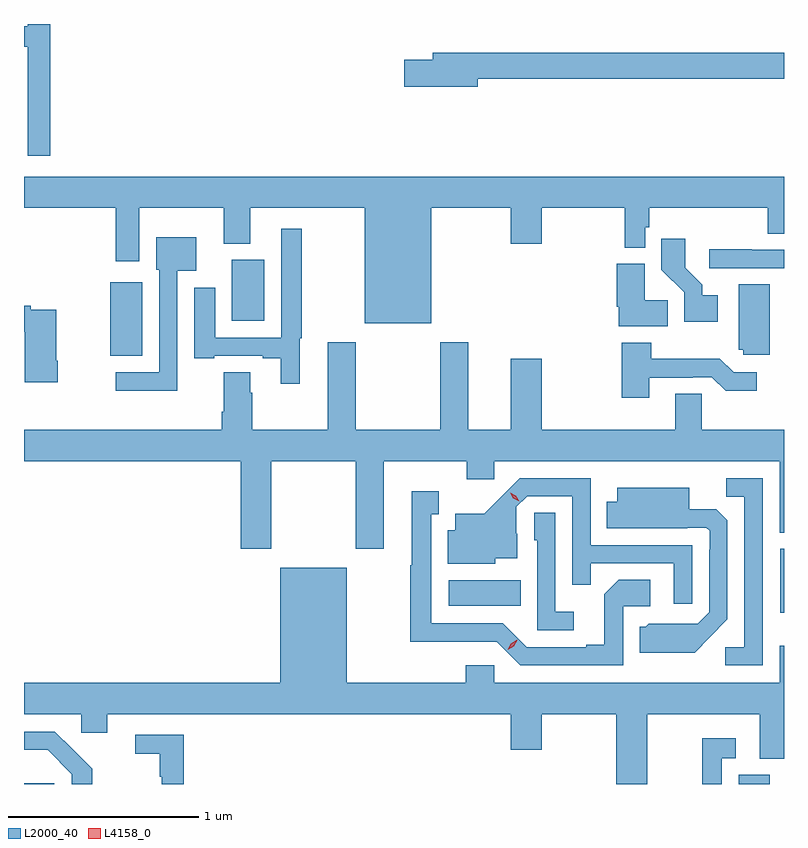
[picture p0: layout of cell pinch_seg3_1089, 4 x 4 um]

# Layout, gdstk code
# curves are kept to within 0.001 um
import gdstk
lib = gdstk.Library(unit=1e-6, precision=1e-09)
def R(c, l, rs):  # rectangles x0, y0, x1, y1
    for r in rs: c.add(gdstk.rectangle(r[:2], r[2:], *l))
def P(c, l, *ps):  # polygons
    for p in ps: c.add(gdstk.Polygon(p, *l))
L2000_40 = (2000, 40)
L4158_0 = (4158, 0)

pinch_seg3_1089 = lib.new_cell('pinch_seg3_1089')
R(pinch_seg3_1089, L2000_40, [(330.279,696.552,330.439,696.556), (334.04,696.552,334.204,696.6), (334.259,697.454,334.279,697.789), (332.514,697.49,332.894,697.624), (330.734,698.807,330.901,699.193), (331.373,698.99,331.543,699.31)])
P(pinch_seg3_1089, L2000_40, [(330.416,700.552),(330.299,700.552),(330.299,700.54),(330.279,700.54),(330.279,700.431),(330.3,700.431),(330.3,699.858),(330.416,699.858)],
  [(332.668,700.264),(334.279,700.264),(334.279,700.4),(332.429,700.4),(332.429,700.364),(332.28,700.364),(332.28,700.222),(332.668,700.222)],
  [(330.279,699.584),(330.761,699.584),(330.761,699.303),(330.886,699.303),(330.886,699.584),(331.331,699.584),(331.331,699.395),(331.471,699.395),(331.471,699.584),(332.072,699.584),(332.072,698.978),(332.422,698.978),(332.422,699.584),(332.84,699.584),(332.84,699.396),(333.004,699.396),(333.004,699.584),(333.441,699.584),(333.441,699.374),(333.549,699.374),(333.549,699.483),(333.569,699.483),(333.569,699.584),(334.193,699.584),(334.193,699.448),(334.279,699.448),(334.279,699.748),(330.279,699.748)],
  [(331.729,698.898),(331.741,698.898),(331.741,699.475),(331.632,699.475),(331.632,698.901),(331.285,698.901),(331.285,699.163),(331.175,699.163),(331.175,698.793),(331.279,698.793),(331.279,698.805),(331.535,698.805),(331.535,698.793),(331.631,698.793),(331.631,698.658),(331.729,698.658)],
  [(331.086,699.254),(331.186,699.254),(331.186,699.43),(330.974,699.43),(330.974,699.258),(330.99,699.258),(330.99,698.718),(330.762,698.718),(330.762,698.621),(331.086,698.621)],
  [(333.931,699.124),(333.85,699.124),(333.85,699.179),(333.76,699.269),(333.76,699.421),(333.634,699.421),(333.634,699.258),(333.753,699.139),(333.753,698.984),(333.931,698.984)],
  [(334.279,699.363),(334.109,699.363),(334.109,699.366),(333.885,699.366),(333.885,699.267),(334.279,699.267)],
  [(333.668,699.098),(333.547,699.098),(333.547,699.289),(333.398,699.289),(333.398,699.064),(333.41,699.064),(333.41,698.96),(333.668,698.96)],
  [(334.204,699.182),(334.04,699.182),(334.04,698.838),(334.065,698.838),(334.065,698.811),(334.204,698.811)],
  [(330.456,698.779),(330.448,698.779),(330.448,699.048),(330.314,699.048),(330.314,699.068),(330.279,699.068),(330.279,698.932),(330.283,698.932),(330.283,698.667),(330.456,698.667)],
  [(331.581,698.252),(332.026,698.252),(332.026,697.791),(332.173,697.791),(332.173,698.252),(332.608,698.252),(332.608,698.157),(332.754,698.157),(332.754,698.252),(334.256,698.252),(334.256,697.874),(334.279,697.874),(334.279,698.416),(333.846,698.416),(333.846,698.606),(333.707,698.606),(333.707,698.416),(333.004,698.416),(333.004,698.791),(332.84,698.791),(332.84,698.416),(332.617,698.416),(332.617,698.878),(332.47,698.878),(332.47,698.416),(332.025,698.416),(332.025,698.878),(331.877,698.878),(331.877,698.416),(331.479,698.416),(331.479,698.612),(331.471,698.612),(331.471,698.72),(331.331,698.72),(331.331,698.512),(331.319,698.512),(331.319,698.416),(330.279,698.416),(330.279,698.252),(331.421,698.252),(331.421,697.791),(331.581,697.791)],
  [(333.571,698.691),(333.8,698.691),(333.8,698.694),(333.9,698.694),(333.973,698.621),(334.135,698.621),(334.135,698.718),(334.014,698.718),(333.941,698.791),(333.579,698.791),(333.579,698.875),(333.424,698.875),(333.424,698.586),(333.571,698.586)],
  [(334.167,698.16),(333.976,698.16),(333.976,698.065),(334.071,698.065),(334.071,697.272),(333.969,697.272),(333.969,697.176),(334.167,697.176)],
  [(333.795,697.809),(333.261,697.809),(333.261,698.16),(332.888,698.16),(332.701,697.975),(332.549,697.975),(332.549,697.888),(332.51,697.888),(332.51,697.712),(332.76,697.712),(332.76,697.739),(332.875,697.739),(332.875,697.868),(332.871,697.868),(332.871,698.01),(332.928,698.067),(333.165,698.067),(333.165,697.6),(333.263,697.6),(333.263,697.713),(333.699,697.713),(333.699,697.5),(333.795,697.5)],
  [(333.889,697.325),(333.981,697.418),(333.981,697.94),(333.922,697.999),(333.781,697.999),(333.781,698.11),(333.401,698.11),(333.401,698.038),(333.346,698.038),(333.346,697.898),(333.77,697.898),(333.77,697.902),(333.87,697.902),(333.888,697.884),(333.888,697.784),(333.885,697.784),(333.885,697.455),(333.825,697.395),(333.568,697.396),(333.552,697.38),(333.521,697.38),(333.521,697.244),(333.809,697.244)],
  [(333.432,697.488),(333.574,697.488),(333.574,697.628),(333.409,697.628),(333.333,697.552),(333.333,697.285),(333.239,697.285),(333.239,697.272),(332.925,697.272),(332.799,697.398),(332.422,697.398),(332.422,697.971),(332.461,697.971),(332.461,698.092),(332.321,698.092),(332.321,697.703),(332.311,697.703),(332.311,697.301),(332.766,697.302),(332.892,697.176),(333.432,697.176)],
  [(333.172,697.459),(333.075,697.459),(333.075,697.979),(332.964,697.979),(332.964,697.836),(332.979,697.836),(332.979,697.362),(333.172,697.362)],
  [(333.559,696.92),(334.151,696.92),(334.151,696.685),(334.279,696.685),(334.279,697.279),(334.256,697.279),(334.256,697.084),(332.754,697.084),(332.754,697.177),(332.603,697.177),(332.603,697.084),(331.978,697.084),(331.978,697.69),(331.628,697.69),(331.628,697.084),(330.279,697.084),(330.279,696.92),(330.579,696.92),(330.579,696.822),(330.718,696.822),(330.718,696.92),(332.84,696.92),(332.84,696.732),(333.004,696.732),(333.004,696.92),(333.395,696.92),(333.395,696.552),(333.559,696.552)],
  [(330.639,696.633),(330.534,696.738),(330.533,696.737),(330.442,696.828),(330.279,696.828),(330.279,696.732),(330.403,696.732),(330.531,696.603),(330.531,696.552),(330.639,696.552)],
  [(331.121,696.81),(330.864,696.81),(330.864,696.712),(330.993,696.712),(330.993,696.591),(331.004,696.591),(331.004,696.552),(331.121,696.552)],
  [(333.951,696.687),(334.024,696.687),(334.024,696.793),(333.85,696.793),(333.85,696.552),(333.951,696.552)])
P(pinch_seg3_1089, L4158_0, [(332.885,698.04),(332.854,698.056),(332.837,698.085),(332.837,698.085),(332.837,698.085),(332.868,698.07),(332.885,698.041),(332.885,698.04)],
  [(332.824,697.259),(332.824,697.259),(332.842,697.291),(332.874,697.31),(332.874,697.31),(332.874,697.309),(332.856,697.277),(332.824,697.259)])

lib.write_gds('pinch_seg3_1089.gds')
